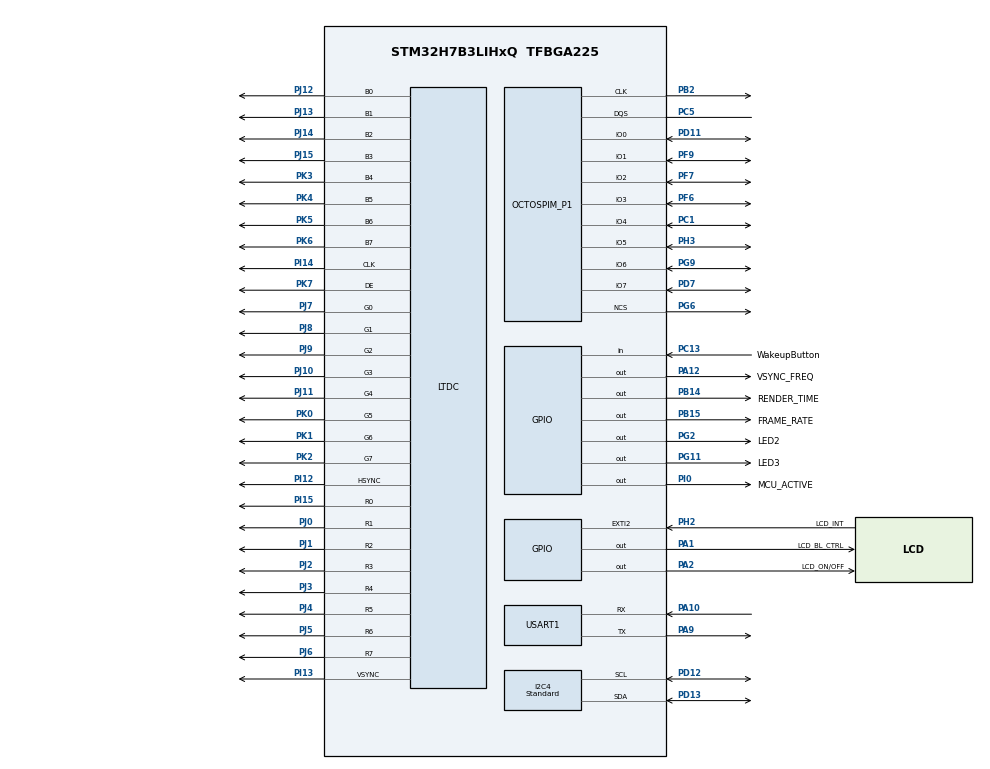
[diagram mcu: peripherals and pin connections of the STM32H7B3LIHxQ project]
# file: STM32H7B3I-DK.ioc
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CORTEX_M7.AccessPermission-Cortex_Memory_Protection_Unit_Region1_Settings=MPU_REGION_FULL_ACCESS
CORTEX_M7.AccessPermission-Cortex_Memory_Protection_Unit_Region2_Settings=MPU_REGION_FULL_ACCESS
CORTEX_M7.AccessPermission-Cortex_Memory_Protection_Unit_Region3_Settings=MPU_REGION_FULL_ACCESS
CORTEX_M7.BaseAddress-Cortex_Memory_Protection_Unit_Region0_Settings=0x90000000
CORTEX_M7.BaseAddress-Cortex_Memory_Protection_Unit_Region1_Settings=0x90000000
CORTEX_M7.BaseAddress-Cortex_Memory_Protection_Unit_Region2_Settings=0x24000000
CORTEX_M7.BaseAddress-Cortex_Memory_Protection_Unit_Region3_Settings=0x24000000
CORTEX_M7.CPU_DCache=Enabled
CORTEX_M7.CPU_ICache=Enabled
CORTEX_M7.DisableExec-Cortex_Memory_Protection_Unit_Region0_Settings=MPU_INSTRUCTION_ACCESS_DISABLE
CORTEX_M7.DisableExec-Cortex_Memory_Protection_Unit_Region1_Settings=MPU_INSTRUCTION_ACCESS_DISABLE
CORTEX_M7.DisableExec-Cortex_Memory_Protection_Unit_Region2_Settings=MPU_INSTRUCTION_ACCESS_DISABLE
CORTEX_M7.DisableExec-Cortex_Memory_Protection_Unit_Region3_Settings=MPU_INSTRUCTION_ACCESS_DISABLE
CORTEX_M7.Enable-Cortex_Memory_Protection_Unit_Region0_Settings=MPU_REGION_ENABLE
CORTEX_M7.Enable-Cortex_Memory_Protection_Unit_Region1_Settings=MPU_REGION_ENABLE
CORTEX_M7.Enable-Cortex_Memory_Protection_Unit_Region2_Settings=MPU_REGION_ENABLE
CORTEX_M7.Enable-Cortex_Memory_Protection_Unit_Region3_Settings=MPU_REGION_ENABLE
CORTEX_M7.IsBufferable-Cortex_Memory_Protection_Unit_Region3_Settings=MPU_ACCESS_BUFFERABLE
CORTEX_M7.IsCacheable-Cortex_Memory_Protection_Unit_Region1_Settings=MPU_ACCESS_CACHEABLE
CORTEX_M7.IsCacheable-Cortex_Memory_Protection_Unit_Region2_Settings=MPU_ACCESS_CACHEABLE
CORTEX_M7.IsCacheable-Cortex_Memory_Protection_Unit_Region3_Settings=MPU_ACCESS_CACHEABLE
CORTEX_M7.MPU_Control=MPU_PRIVILEGED_DEFAULT
CORTEX_M7.Size-Cortex_Memory_Protection_Unit_Region0_Settings=MPU_REGION_SIZE_256MB
CORTEX_M7.Size-Cortex_Memory_Protection_Unit_Region1_Settings=MPU_REGION_SIZE_64MB
CORTEX_M7.Size-Cortex_Memory_Protection_Unit_Region2_Settings=MPU_REGION_SIZE_1MB
CORTEX_M7.Size-Cortex_Memory_Protection_Unit_Region3_Settings=MPU_REGION_SIZE_256KB
DMA2D.ColorMode=DMA2D_OUTPUT_RGB565
FREERTOS.HEAP_NUMBER=4
FREERTOS.Tasks01=defaultTask,24,128,StartDefaultTask,Default,NULL,Dynamic,NULL,NULL;GUI_Task,24,4096,TouchGFX_Task,As external,NULL,Dynamic,NULL,NULL
FREERTOS.Timers01=testTimer,testTmrCallback,osTimerPeriodic,Default,NULL,Dynamic,NULL
FREERTOS.configTOTAL_HEAP_SIZE=32768
FREERTOS.configUSE_NEWLIB_REENTRANT=0
FREERTOS.copyHeapFile=1
I2C4.Analog_Filter=I2C_ANALOGFILTER_DISABLE
I2C4.I2C_Fall_Time=0
I2C4.I2C_Rise_Time=0
I2C4.I2C_Speed_Mode=I2C_Standard
I2C4.Speed=100
I2C4.Timing=0x30808BD0
LTDC.ActiveH=272
LTDC.ActiveW=480
LTDC.Alpha_L0=255
LTDC.BlendingFactor1_L0=LTDC_BLENDING_FACTOR1_CA
LTDC.BlendingFactor2_L0=LTDC_BLENDING_FACTOR2_CA
LTDC.Blue_L0=255
LTDC.HBP=2
LTDC.HFP=32
LTDC.HSync=41
LTDC.ImageHeight_L0=272
LTDC.ImageWidth_L0=480
LTDC.Layers=0
LTDC.PixelFormat_L0=LTDC_PIXEL_FORMAT_RGB888
LTDC.VSync=10
LTDC.WindowX1_L0=480
LTDC.WindowY1_L0=272
Mcu.Family=STM32H7
Mcu.Name=STM32H7B3LIHxQ
Mcu.Package=TFBGA225
NVIC.DMA2D_IRQn=true\:5\:0\:true\:false\:true\:false\:true\:true
NVIC.EXTI2_IRQn=true\:5\:0\:false\:false\:true\:true\:true\:true
NVIC.LTDC_IRQn=true\:5\:0\:false\:false\:true\:true\:true\:true
NVIC.OCTOSPI1_IRQn=true\:5\:0\:false\:false\:true\:true\:true\:true
NVIC.PriorityGroup=NVIC_PRIORITYGROUP_4
NVIC.TIM6_DAC_IRQn=true\:0\:0\:false\:false\:true\:false\:false\:true
NVIC.TimeBase=TIM6_DAC_IRQn
NVIC.TimeBaseIP=TIM6
OCTOSPI1.ChipSelectBoundary=0
OCTOSPI1.ChipSelectHighTime=2
OCTOSPI1.ClockPrescaler=3
OCTOSPI1.DeviceSize=26
OCTOSPI1.Refresh=0
PA1.GPIO_Label=LCD_BL_CTRL
PA1.GPIO_ModeDefaultOutputPP=GPIO_MODE_OUTPUT_PP
PA1.GPIO_PuPd=GPIO_NOPULL
PA1.GPIO_Speed=GPIO_SPEED_FREQ_LOW
PA1.PinState=GPIO_PIN_RESET
PA1.Signal=GPIO_Output
PA10.Mode=Asynchronous
PA10.Signal=USART1_RX
PA12.GPIO_Label=VSYNC_FREQ
PA12.Signal=GPIO_Output
PA2.GPIO_Label=LCD_ON/OFF
PA2.GPIO_ModeDefaultOutputPP=GPIO_MODE_OUTPUT_PP
PA2.GPIO_PuPd=GPIO_PULLUP
PA2.GPIO_Speed=GPIO_SPEED_FREQ_LOW
PA2.PinState=GPIO_PIN_RESET
PA2.Signal=GPIO_Output
PA9.Mode=Asynchronous
PA9.Signal=USART1_TX
PB14.GPIO_Label=RENDER_TIME
PB14.Signal=GPIO_Output
PB15.GPIO_Label=FRAME_RATE
PB15.Signal=GPIO_Output
PB2.Mode=O1_P1_CLK
PB2.Signal=OCTOSPIM_P1_CLK
PC1.Mode=OCTOSPI1_IOH_Port1H
PC1.Signal=OCTOSPIM_P1_IO4
PC13.GPIO_Label=WakeupButton
PC13.GPIO_PuPd=GPIO_PULLDOWN
PC13.Signal=GPIO_Input
PC5.Mode=OCTOSPI1_Port1_DQS
PC5.Signal=OCTOSPIM_P1_DQS
PD11.Mode=OCTOSPI1_IOL_Port1L
PD11.Signal=OCTOSPIM_P1_IO0
PD12.GPIO_Pu=GPIO_PULLUP
PD12.GPIO_Speed=GPIO_SPEED_FREQ_HIGH
PD12.Mode=I2C
PD12.Signal=I2C4_SCL
PD13.GPIO_Pu=GPIO_PULLUP
PD13.GPIO_Speed=GPIO_SPEED_FREQ_HIGH
PD13.Mode=I2C
PD13.Signal=I2C4_SDA
PD7.Mode=OCTOSPI1_IOH_Port1H
PD7.Signal=OCTOSPIM_P1_IO7
PF6.Mode=OCTOSPI1_IOL_Port1L
PF6.Signal=OCTOSPIM_P1_IO3
PF7.Mode=OCTOSPI1_IOL_Port1L
PF7.Signal=OCTOSPIM_P1_IO2
PF9.Mode=OCTOSPI1_IOL_Port1L
PF9.Signal=OCTOSPIM_P1_IO1
PG11.GPIO_Label=LED3
PG11.GPIO_PuPd=GPIO_PULLUP
PG11.Signal=GPIO_Output
PG2.GPIO_Label=LED2
PG2.GPIO_PuPd=GPIO_PULLUP
PG2.Signal=GPIO_Output
PG6.Mode=OCTOSPI1_Port1_NCS
PG6.Signal=OCTOSPIM_P1_NCS
PG9.Mode=OCTOSPI1_IOH_Port1H
PG9.Signal=OCTOSPIM_P1_IO6
PH0-OSC_IN.Mode=HSE-External-Oscillator
PH0-OSC_IN.Signal=RCC_OSC_IN
PH1-OSC_OUT.Mode=HSE-External-Oscillator
PH1-OSC_OUT.Signal=RCC_OSC_OUT
PH2.GPIO_Label=LCD_INT
PH2.GPIO_PuPd=GPIO_PULLUP
PH2.Signal=GPXTI2
PH3.Mode=OCTOSPI1_IOH_Port1H
PH3.Signal=OCTOSPIM_P1_IO5
PI0.GPIO_Label=MCU_ACTIVE
PI0.Signal=GPIO_Output
PI12.Mode=RGB888
PI12.Signal=LTDC_HSYNC
PI13.Mode=RGB888
PI13.Signal=LTDC_VSYNC
PI14.Mode=RGB888
PI14.Signal=LTDC_CLK
PI15.Mode=RGB888
PI15.Signal=LTDC_R0
PJ0.Mode=RGB888
PJ0.Signal=LTDC_R1
PJ1.Mode=RGB888
PJ1.Signal=LTDC_R2
PJ10.Mode=RGB888
PJ10.Signal=LTDC_G3
PJ11.Mode=RGB888
PJ11.Signal=LTDC_G4
PJ12.Mode=RGB888
PJ12.Signal=LTDC_B0
PJ13.Mode=RGB888
PJ13.Signal=LTDC_B1
PJ14.Mode=RGB888
PJ14.Signal=LTDC_B2
PJ15.Mode=RGB888
PJ15.Signal=LTDC_B3
PJ2.Mode=RGB888
PJ2.Signal=LTDC_R3
PJ3.Mode=RGB888
PJ3.Signal=LTDC_R4
PJ4.Mode=RGB888
PJ4.Signal=LTDC_R5
PJ5.Mode=RGB888
PJ5.Signal=LTDC_R6
PJ6.Mode=RGB888
PJ6.Signal=LTDC_R7
PJ7.Mode=RGB888
PJ7.Signal=LTDC_G0
PJ8.Mode=RGB888
PJ8.Signal=LTDC_G1
PJ9.Mode=RGB888
PJ9.Signal=LTDC_G2
PK0.Mode=RGB888
PK0.Signal=LTDC_G5
PK1.Mode=RGB888
PK1.Signal=LTDC_G6
PK2.Mode=RGB888
PK2.Signal=LTDC_G7
PK3.Mode=RGB888
PK3.Signal=LTDC_B4
PK4.Mode=RGB888
PK4.Signal=LTDC_B5
PK5.Mode=RGB888
PK5.Signal=LTDC_B6
PK6.Mode=RGB888
PK6.Signal=LTDC_B7
PK7.GPIO_PuPd=GPIO_NOPULL
PK7.Mode=RGB888
PK7.Signal=LTDC_DE
ProjectManager.HeapSize=0x1000
ProjectManager.StackSize=0x1000
ProjectManager.TargetToolchain=EWARM V8.32
RCC.ADCFreq_Value=133000000
RCC.APB1Freq_Value=140000000
RCC.APB2Freq_Value=140000000
RCC.APB3Freq_Value=140000000
RCC.APB4Freq_Value=140000000
RCC.CKPERSourceSelection=RCC_CLKPSOURCE_HSE
RCC.CortexFreq_Value=280000000
RCC.DIVM1=12
RCC.DIVM2=24
RCC.DIVM3=24
RCC.DIVN1=280
RCC.DIVN2=266
RCC.DIVN3=201
RCC.DIVR3=21
RCC.HCLKFreq_Value=140000000
RCC.HPRE=RCC_HCLK_DIV2
RCC.HSIDiv=RCC_PLLSAIDIVR_2
RCC.PLL2FRACN=0
RCC.PLL3FRACN=5462
RCC.PLLFRACN=0
RCC.PLLSourceVirtual=RCC_PLLSOURCE_HSE
RCC.PWR_Regulator_Voltage_Scale=PWR_REGULATOR_VOLTAGE_SCALE0
RCC.QSPICLockSelection=RCC_OSPICLKSOURCE_PLL2
RCC.SYSCLKFreq_VALUE=280000000
RCC.SYSCLKSource=RCC_SYSCLKSOURCE_PLLCLK
RCC.SupplySource=PWR_DIRECT_SMPS_SUPPLY
RCC.USBFreq_Value=280000000
STMicroelectronics.X-CUBE-TOUCHGFX.4.18.1.ApplicationCcGraphicsJjApplication=TouchGFXOoGenerator
STMicroelectronics.X-CUBE-TOUCHGFX.4.18.1.tgfx_buffering_strategy=Double
STMicroelectronics.X-CUBE-TOUCHGFX.4.18.1.tgfx_display_interface=disp_ltdc
STMicroelectronics.X-CUBE-TOUCHGFX.4.18.1.tgfx_hardware_accelerator=dma_2d
STMicroelectronics.X-CUBE-TOUCHGFX.4.18.1.tgfx_vsync=vsync_ltdc
USART1.VirtualMode-Asynchronous=VM_ASYNC
VP_CRC_VS_CRC.Mode=CRC_Activate
VP_DMA2D_VS_DMA2D.Mode=DMA2D_Activate
VP_FREERTOS_VS_CMSIS_V2.Mode=CMSIS_V2
VP_OCTOSPI1_VS_octo.Mode=octo_mode
VP_STMicroelectronics.X-CUBE-TOUCHGFX_VS_GraphicsJjApplication_4.18.1.Mode=GraphicsJjApplication
VP_SYS_VS_tim6.Mode=TIM6
board=custom

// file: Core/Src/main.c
/* USER CODE BEGIN Header */
/**
  ******************************************************************************
  * @file           : main.c
  * @brief          : Main program body
  ******************************************************************************
  * @attention
  *
  * <h2><center>&copy; Copyright (c) 2019 STMicroelectronics.
  * All rights reserved.</center></h2>
  *
  * This software component is licensed by ST under Ultimate Liberty license
  * SLA0044, the "License"; You may not use this file except in compliance with
  * the License. You may obtain a copy of the License at:
  *                             www.st.com/SLA0044
  *
  ******************************************************************************
  */
/* USER CODE END Header */
#include "main.h"
#include "cmsis_os.h"
#include "app_touchgfx.h"

/* USER CODE BEGIN Includes */
#include "stm32h7b3i_discovery_ospi.h"
#include "stm32h7b3i_discovery.h"
#include "User_Include.h"
/* USER CODE END Includes */

CRC_HandleTypeDef hcrc;

DMA2D_HandleTypeDef hdma2d;

I2C_HandleTypeDef hi2c4;

LTDC_HandleTypeDef hltdc;

OSPI_HandleTypeDef hospi1;

UART_HandleTypeDef huart1;

/* Definitions for defaultTask */
osThreadId_t defaultTaskHandle;
const osThreadAttr_t defaultTask_attributes = {
  .name = "defaultTask",
  .stack_size = 128 * 4,
  .priority = (osPriority_t) osPriorityNormal,
};
/* Definitions for GUI_Task */
osThreadId_t GUI_TaskHandle;
const osThreadAttr_t GUI_Task_attributes = {
  .name = "GUI_Task",
  .stack_size = 4096 * 4,
  .priority = (osPriority_t) osPriorityNormal,
};
/* Definitions for testTimer */
//osTimerId_t testTimerHandle;
//const osTimerAttr_t testTimer_attributes = {
//  .name = "testTimer"
//};
/* USER CODE BEGIN PV */
osThreadId_t buttonReadTaskHandle;
const osThreadAttr_t buttonReadTask_attributes = {
  .name = "buttonReadTask",
  .stack_size = 128 * 4,
  .priority = (osPriority_t) osPriorityNormal,
};
/* USER CODE END PV */

void SystemClock_Config(void);
static void MPU_Config(void);
static void MX_CRC_Init(void);
static void MX_GPIO_Init(void);
static void MX_DMA2D_Init(void);
static void MX_LTDC_Init(void);
static void MX_I2C4_Init(void);
static void MX_OCTOSPI1_Init(void);
static void MX_USART1_UART_Init(void);
void StartDefaultTask(void *argument);
extern void TouchGFX_Task(void *argument);
void testTmrCallback(void *argument);

int main(void)
{

  /* MPU Configuration--------------------------------------------------------*/
  MPU_Config();

  /* Enable I-Cache---------------------------------------------------------*/
  SCB_EnableICache();

  /* Enable D-Cache---------------------------------------------------------*/
  SCB_EnableDCache();

  /* MCU Configuration--------------------------------------------------------*/

  /* Reset of all peripherals, Initializes the Flash interface and the Systick. */
  HAL_Init();

  /* Configure the system clock */
  SystemClock_Config();

  /* Initialize all configured peripherals */
  MX_CRC_Init();
  MX_GPIO_Init();
  MX_DMA2D_Init();
  MX_LTDC_Init();
  MX_I2C4_Init();
  MX_OCTOSPI1_Init();
  MX_USART1_UART_Init();
  MX_TouchGFX_Init();

  /* Init scheduler */
  osKernelInitialize();

  /* Create the timer(s) */
  /* creation of testTimer */
//  testTimerHandle = osTimerNew(testTmrCallback, osTimerPeriodic, NULL, &testTimer_attributes);

  /* Create the thread(s) */
  /* creation of defaultTask */
  defaultTaskHandle = osThreadNew(StartDefaultTask, NULL, &defaultTask_attributes);

  /* creation of GUI_Task */
  GUI_TaskHandle = osThreadNew(TouchGFX_Task, NULL, &GUI_Task_attributes);

  /* USER CODE BEGIN RTOS_THREADS */
  /* add threads, ... */
  buttonReadTaskHandle = osThreadNew(ButtonReadTask, NULL, &buttonReadTask_attributes);
  /* USER CODE END RTOS_THREADS */

  /* Start scheduler */
  osKernelStart();

  /* We should never get here as control is now taken by the scheduler */
  /* Infinite loop */
  while (1)
  {

  }
}

void SystemClock_Config(void)
{
  RCC_OscInitTypeDef RCC_OscInitStruct = {0};
  RCC_ClkInitTypeDef RCC_ClkInitStruct = {0};

  /** Supply configuration update enable
  */
  HAL_PWREx_ConfigSupply(PWR_DIRECT_SMPS_SUPPLY);
  /** Configure the main internal regulator output voltage
  */
  __HAL_PWR_VOLTAGESCALING_CONFIG(PWR_REGULATOR_VOLTAGE_SCALE0);

  while(!__HAL_PWR_GET_FLAG(PWR_FLAG_VOSRDY)) {}
  /** Macro to configure the PLL clock source
  */
  __HAL_RCC_PLL_PLLSOURCE_CONFIG(RCC_PLLSOURCE_HSE);
  /** Initializes the RCC Oscillators according to the specified parameters
  * in the RCC_OscInitTypeDef structure.
  */
  RCC_OscInitStruct.OscillatorType = RCC_OSCILLATORTYPE_HSE;
  RCC_OscInitStruct.HSEState = RCC_HSE_ON;
  RCC_OscInitStruct.PLL.PLLState = RCC_PLL_ON;
  RCC_OscInitStruct.PLL.PLLSource = RCC_PLLSOURCE_HSE;
  RCC_OscInitStruct.PLL.PLLM = 12;
  RCC_OscInitStruct.PLL.PLLN = 280;
  RCC_OscInitStruct.PLL.PLLP = 2;
  RCC_OscInitStruct.PLL.PLLQ = 2;
  RCC_OscInitStruct.PLL.PLLR = 2;
  RCC_OscInitStruct.PLL.PLLRGE = RCC_PLL1VCIRANGE_1;
  RCC_OscInitStruct.PLL.PLLVCOSEL = RCC_PLL1VCOWIDE;
  RCC_OscInitStruct.PLL.PLLFRACN = 0;
  if (HAL_RCC_OscConfig(&RCC_OscInitStruct) != HAL_OK)
  {
    Error_Handler();
  }
  /** Initializes the CPU, AHB and APB buses clocks
  */
  RCC_ClkInitStruct.ClockType = RCC_CLOCKTYPE_HCLK|RCC_CLOCKTYPE_SYSCLK
                              |RCC_CLOCKTYPE_PCLK1|RCC_CLOCKTYPE_PCLK2
                              |RCC_CLOCKTYPE_D3PCLK1|RCC_CLOCKTYPE_D1PCLK1;
  RCC_ClkInitStruct.SYSCLKSource = RCC_SYSCLKSOURCE_PLLCLK;
  RCC_ClkInitStruct.SYSCLKDivider = RCC_SYSCLK_DIV1;
  RCC_ClkInitStruct.AHBCLKDivider = RCC_HCLK_DIV2;
  RCC_ClkInitStruct.APB3CLKDivider = RCC_APB3_DIV1;
  RCC_ClkInitStruct.APB1CLKDivider = RCC_APB1_DIV1;
  RCC_ClkInitStruct.APB2CLKDivider = RCC_APB2_DIV1;
  RCC_ClkInitStruct.APB4CLKDivider = RCC_APB4_DIV1;

  if (HAL_RCC_ClockConfig(&RCC_ClkInitStruct, FLASH_LATENCY_3) != HAL_OK)
  {
    Error_Handler();
  }
}

static void MX_CRC_Init(void)
{

  hcrc.Instance = CRC;
  hcrc.Init.DefaultPolynomialUse = DEFAULT_POLYNOMIAL_ENABLE;
  hcrc.Init.DefaultInitValueUse = DEFAULT_INIT_VALUE_ENABLE;
  hcrc.Init.InputDataInversionMode = CRC_INPUTDATA_INVERSION_NONE;
  hcrc.Init.OutputDataInversionMode = CRC_OUTPUTDATA_INVERSION_DISABLE;
  hcrc.InputDataFormat = CRC_INPUTDATA_FORMAT_BYTES;
  if (HAL_CRC_Init(&hcrc) != HAL_OK)
  {
    Error_Handler();
  }

}

static void MX_DMA2D_Init(void)
{

  hdma2d.Instance = DMA2D;
  hdma2d.Init.Mode = DMA2D_M2M;
  hdma2d.Init.ColorMode = DMA2D_OUTPUT_RGB565;
  hdma2d.Init.OutputOffset = 0;
  hdma2d.LayerCfg[1].InputOffset = 0;
  hdma2d.LayerCfg[1].InputColorMode = DMA2D_INPUT_RGB565;
  hdma2d.LayerCfg[1].AlphaMode = DMA2D_NO_MODIF_ALPHA;
  hdma2d.LayerCfg[1].InputAlpha = 0;
  hdma2d.LayerCfg[1].AlphaInverted = DMA2D_REGULAR_ALPHA;
  hdma2d.LayerCfg[1].RedBlueSwap = DMA2D_RB_REGULAR;
  hdma2d.LayerCfg[1].ChromaSubSampling = DMA2D_NO_CSS;
  if (HAL_DMA2D_Init(&hdma2d) != HAL_OK)
  {
    Error_Handler();
  }
  if (HAL_DMA2D_ConfigLayer(&hdma2d, 1) != HAL_OK)
  {
    Error_Handler();
  }

}

static void MX_I2C4_Init(void)
{

  hi2c4.Instance = I2C4;
  hi2c4.Init.Timing = 0x30808BD0;
  hi2c4.Init.OwnAddress1 = 0;
  hi2c4.Init.AddressingMode = I2C_ADDRESSINGMODE_7BIT;
  hi2c4.Init.DualAddressMode = I2C_DUALADDRESS_DISABLE;
  hi2c4.Init.OwnAddress2 = 0;
  hi2c4.Init.OwnAddress2Masks = I2C_OA2_NOMASK;
  hi2c4.Init.GeneralCallMode = I2C_GENERALCALL_DISABLE;
  hi2c4.Init.NoStretchMode = I2C_NOSTRETCH_DISABLE;
  if (HAL_I2C_Init(&hi2c4) != HAL_OK)
  {
    Error_Handler();
  }
  /** Configure Analogue filter
  */
  if (HAL_I2CEx_ConfigAnalogFilter(&hi2c4, I2C_ANALOGFILTER_DISABLE) != HAL_OK)
  {
    Error_Handler();
  }
  /** Configure Digital filter
  */
  if (HAL_I2CEx_ConfigDigitalFilter(&hi2c4, 0) != HAL_OK)
  {
    Error_Handler();
  }

}

static void MX_LTDC_Init(void)
{

  LTDC_LayerCfgTypeDef pLayerCfg = {0};

  hltdc.Instance = LTDC;
  hltdc.Init.HSPolarity = LTDC_HSPOLARITY_AL;
  hltdc.Init.VSPolarity = LTDC_VSPOLARITY_AL;
  hltdc.Init.DEPolarity = LTDC_DEPOLARITY_AL;
  hltdc.Init.PCPolarity = LTDC_PCPOLARITY_IPC;
  hltdc.Init.HorizontalSync = 40;
  hltdc.Init.VerticalSync = 9;
  hltdc.Init.AccumulatedHBP = 42;
  hltdc.Init.AccumulatedVBP = 11;
  hltdc.Init.AccumulatedActiveW = 522;
  hltdc.Init.AccumulatedActiveH = 283;
  hltdc.Init.TotalWidth = 554;
  hltdc.Init.TotalHeigh = 285;
  hltdc.Init.Backcolor.Blue = 0;
  hltdc.Init.Backcolor.Green = 0;
  hltdc.Init.Backcolor.Red = 0;
  if (HAL_LTDC_Init(&hltdc) != HAL_OK)
  {
    Error_Handler();
  }
  pLayerCfg.WindowX0 = 0;
  pLayerCfg.WindowX1 = 480;
  pLayerCfg.WindowY0 = 0;
  pLayerCfg.WindowY1 = 272;
  pLayerCfg.PixelFormat = LTDC_PIXEL_FORMAT_RGB888;
  pLayerCfg.Alpha = 255;
  pLayerCfg.Alpha0 = 0;
  pLayerCfg.BlendingFactor1 = LTDC_BLENDING_FACTOR1_CA;
  pLayerCfg.BlendingFactor2 = LTDC_BLENDING_FACTOR2_CA;
  pLayerCfg.FBStartAdress = 0;
  pLayerCfg.ImageWidth = 480;
  pLayerCfg.ImageHeight = 272;
  pLayerCfg.Backcolor.Blue = 255;
  pLayerCfg.Backcolor.Green = 0;
  pLayerCfg.Backcolor.Red = 0;
  if (HAL_LTDC_ConfigLayer(&hltdc, &pLayerCfg, 0) != HAL_OK)
  {
    Error_Handler();
  }

}

static void MX_OCTOSPI1_Init(void)
{

  OSPIM_CfgTypeDef sOspiManagerCfg = {0};

  /* OCTOSPI1 parameter configuration*/
  hospi1.Instance = OCTOSPI1;
  hospi1.Init.FifoThreshold = 1;
  hospi1.Init.DualQuad = HAL_OSPI_DUALQUAD_DISABLE;
  hospi1.Init.MemoryType = HAL_OSPI_MEMTYPE_MICRON;
  hospi1.Init.DeviceSize = 26;
  hospi1.Init.ChipSelectHighTime = 2;
  hospi1.Init.FreeRunningClock = HAL_OSPI_FREERUNCLK_DISABLE;
  hospi1.Init.ClockMode = HAL_OSPI_CLOCK_MODE_0;
  hospi1.Init.WrapSize = HAL_OSPI_WRAP_NOT_SUPPORTED;
  hospi1.Init.ClockPrescaler = 3;
  hospi1.Init.SampleShifting = HAL_OSPI_SAMPLE_SHIFTING_NONE;
  hospi1.Init.DelayHoldQuarterCycle = HAL_OSPI_DHQC_DISABLE;
  hospi1.Init.ChipSelectBoundary = 0;
  hospi1.Init.ClkChipSelectHighTime = 0;
  hospi1.Init.DelayBlockBypass = HAL_OSPI_DELAY_BLOCK_BYPASSED;
  hospi1.Init.MaxTran = 0;
  hospi1.Init.Refresh = 0;
  if (HAL_OSPI_Init(&hospi1) != HAL_OK)
  {
    Error_Handler();
  }
  sOspiManagerCfg.ClkPort = 1;
  sOspiManagerCfg.DQSPort = 1;
  sOspiManagerCfg.NCSPort = 1;
  sOspiManagerCfg.IOLowPort = HAL_OSPIM_IOPORT_1_LOW;
  sOspiManagerCfg.IOHighPort = HAL_OSPIM_IOPORT_1_HIGH;
  if (HAL_OSPIM_Config(&hospi1, &sOspiManagerCfg, HAL_OSPI_TIMEOUT_DEFAULT_VALUE) != HAL_OK)
  {
    Error_Handler();
  }
  /* USER CODE BEGIN OCTOSPI1_Init 2 */
  BSP_OSPI_NOR_Init_t Flash;
  Flash.InterfaceMode = BSP_OSPI_NOR_OPI_MODE;
  Flash.TransferRate  = BSP_OSPI_NOR_DTR_TRANSFER;
  BSP_OSPI_NOR_DeInit(0);
  int32_t RetVal = BSP_OSPI_NOR_Init(0, &Flash);
  if(RetVal != BSP_ERROR_NONE)
  {
    Error_Handler();
  }
  RetVal = BSP_OSPI_NOR_EnableMemoryMappedMode(0);
  if(RetVal != BSP_ERROR_NONE)
  {
    Error_Handler();
  }
  /* USER CODE END OCTOSPI1_Init 2 */

}

static void MX_USART1_UART_Init(void)
{

  huart1.Instance = USART1;
  huart1.Init.BaudRate = 115200;
  huart1.Init.WordLength = UART_WORDLENGTH_8B;
  huart1.Init.StopBits = UART_STOPBITS_1;
  huart1.Init.Parity = UART_PARITY_NONE;
  huart1.Init.Mode = UART_MODE_TX_RX;
  huart1.Init.HwFlowCtl = UART_HWCONTROL_NONE;
  huart1.Init.OverSampling = UART_OVERSAMPLING_16;
  huart1.Init.OneBitSampling = UART_ONE_BIT_SAMPLE_DISABLE;
  huart1.Init.ClockPrescaler = UART_PRESCALER_DIV1;
  huart1.AdvancedInit.AdvFeatureInit = UART_ADVFEATURE_NO_INIT;
  if (HAL_UART_Init(&huart1) != HAL_OK)
  {
    Error_Handler();
  }
  if (HAL_UARTEx_SetTxFifoThreshold(&huart1, UART_TXFIFO_THRESHOLD_1_8) != HAL_OK)
  {
    Error_Handler();
  }
  if (HAL_UARTEx_SetRxFifoThreshold(&huart1, UART_RXFIFO_THRESHOLD_1_8) != HAL_OK)
  {
    Error_Handler();
  }
  if (HAL_UARTEx_DisableFifoMode(&huart1) != HAL_OK)
  {
    Error_Handler();
  }

}

static void MX_GPIO_Init(void)
{
  GPIO_InitTypeDef GPIO_InitStruct = {0};

  /* GPIO Ports Clock Enable */
  __HAL_RCC_GPIOK_CLK_ENABLE();
  __HAL_RCC_GPIOG_CLK_ENABLE();
  __HAL_RCC_GPIOD_CLK_ENABLE();
  __HAL_RCC_GPIOJ_CLK_ENABLE();
  __HAL_RCC_GPIOI_CLK_ENABLE();
  __HAL_RCC_GPIOA_CLK_ENABLE();
  __HAL_RCC_GPIOC_CLK_ENABLE();
  __HAL_RCC_GPIOF_CLK_ENABLE();
  __HAL_RCC_GPIOH_CLK_ENABLE();
  __HAL_RCC_GPIOB_CLK_ENABLE();

  /*Configure GPIO pin Output Level */
  HAL_GPIO_WritePin(GPIOG, LED3_Pin|LED2_Pin, GPIO_PIN_RESET);

  /*Configure GPIO pin Output Level */
  HAL_GPIO_WritePin(MCU_ACTIVE_GPIO_Port, MCU_ACTIVE_Pin, GPIO_PIN_RESET);

  /*Configure GPIO pin Output Level */
  HAL_GPIO_WritePin(GPIOA, VSYNC_FREQ_Pin|LCD_BL_CTRL_Pin|LCD_ON_OFF_Pin, GPIO_PIN_RESET);

  /*Configure GPIO pin Output Level */
  HAL_GPIO_WritePin(GPIOB, RENDER_TIME_Pin|FRAME_RATE_Pin, GPIO_PIN_RESET);

  /*Configure GPIO pins : LED3_Pin LED2_Pin */
  GPIO_InitStruct.Pin = LED3_Pin|LED2_Pin;
  GPIO_InitStruct.Mode = GPIO_MODE_OUTPUT_PP;
  GPIO_InitStruct.Pull = GPIO_PULLUP;
  GPIO_InitStruct.Speed = GPIO_SPEED_FREQ_LOW;
  HAL_GPIO_Init(GPIOG, &GPIO_InitStruct);

  /*Configure GPIO pin : MCU_ACTIVE_Pin */
  GPIO_InitStruct.Pin = MCU_ACTIVE_Pin;
  GPIO_InitStruct.Mode = GPIO_MODE_OUTPUT_PP;
  GPIO_InitStruct.Pull = GPIO_NOPULL;
  GPIO_InitStruct.Speed = GPIO_SPEED_FREQ_LOW;
  HAL_GPIO_Init(MCU_ACTIVE_GPIO_Port, &GPIO_InitStruct);

  /*Configure GPIO pins : VSYNC_FREQ_Pin LCD_BL_CTRL_Pin */
  GPIO_InitStruct.Pin = VSYNC_FREQ_Pin|LCD_BL_CTRL_Pin;
  GPIO_InitStruct.Mode = GPIO_MODE_OUTPUT_PP;
  GPIO_InitStruct.Pull = GPIO_NOPULL;
  GPIO_InitStruct.Speed = GPIO_SPEED_FREQ_LOW;
  HAL_GPIO_Init(GPIOA, &GPIO_InitStruct);

  /*Configure GPIO pin : WakeupButton_Pin */
  GPIO_InitStruct.Pin = WakeupButton_Pin;
  GPIO_InitStruct.Mode = GPIO_MODE_INPUT;
  GPIO_InitStruct.Pull = GPIO_PULLDOWN;
  HAL_GPIO_Init(WakeupButton_GPIO_Port, &GPIO_InitStruct);

  /*Configure GPIO pin : LCD_INT_Pin */
  GPIO_InitStruct.Pin = LCD_INT_Pin;
  GPIO_InitStruct.Mode = GPIO_MODE_IT_RISING;
  GPIO_InitStruct.Pull = GPIO_PULLUP;
  HAL_GPIO_Init(LCD_INT_GPIO_Port, &GPIO_InitStruct);

  /*Configure GPIO pins : RENDER_TIME_Pin FRAME_RATE_Pin */
  GPIO_InitStruct.Pin = RENDER_TIME_Pin|FRAME_RATE_Pin;
  GPIO_InitStruct.Mode = GPIO_MODE_OUTPUT_PP;
  GPIO_InitStruct.Pull = GPIO_NOPULL;
  GPIO_InitStruct.Speed = GPIO_SPEED_FREQ_LOW;
  HAL_GPIO_Init(GPIOB, &GPIO_InitStruct);

  /*Configure GPIO pin : LCD_ON_OFF_Pin */
  GPIO_InitStruct.Pin = LCD_ON_OFF_Pin;
  GPIO_InitStruct.Mode = GPIO_MODE_OUTPUT_PP;
  GPIO_InitStruct.Pull = GPIO_PULLUP;
  GPIO_InitStruct.Speed = GPIO_SPEED_FREQ_LOW;
  HAL_GPIO_Init(LCD_ON_OFF_GPIO_Port, &GPIO_InitStruct);

  /* EXTI interrupt init*/
  HAL_NVIC_SetPriority(EXTI2_IRQn, 5, 0);
  HAL_NVIC_EnableIRQ(EXTI2_IRQn);

}

void StartDefaultTask(void *argument)
{
  /* USER CODE BEGIN 5 */
    startTimer(testTmrCallback, osTimerPeriodic, NULL, 1000);
    startTimer(TimerHandleTest, osTimerPeriodic, 10, 1000);

  /* Infinite loop */
  for(;;)
  {
    osDelay(100);
  }
  /* USER CODE END 5 */
}

/* testTmrCallback function */
void testTmrCallback(void *argument)
{
  /* USER CODE BEGIN testTmrCallback */
    HAL_GPIO_TogglePin(GPIOG, GPIO_PIN_2);
    HAL_GPIO_TogglePin(GPIOG, GPIO_PIN_11);
  /* USER CODE END testTmrCallback */
}

/* MPU Configuration */

void MPU_Config(void)
{
  MPU_Region_InitTypeDef MPU_InitStruct = {0};

  /* Disables the MPU */
  HAL_MPU_Disable();
  /** Initializes and configures the Region and the memory to be protected
  */
  MPU_InitStruct.Enable = MPU_REGION_ENABLE;
  MPU_InitStruct.Number = MPU_REGION_NUMBER0;
  MPU_InitStruct.BaseAddress = 0x90000000;
  MPU_InitStruct.Size = MPU_REGION_SIZE_256MB;
  MPU_InitStruct.SubRegionDisable = 0x0;
  MPU_InitStruct.TypeExtField = MPU_TEX_LEVEL0;
  MPU_InitStruct.AccessPermission = MPU_REGION_NO_ACCESS;
  MPU_InitStruct.DisableExec = MPU_INSTRUCTION_ACCESS_DISABLE;
  MPU_InitStruct.IsShareable = MPU_ACCESS_NOT_SHAREABLE;
  MPU_InitStruct.IsCacheable = MPU_ACCESS_NOT_CACHEABLE;
  MPU_InitStruct.IsBufferable = MPU_ACCESS_NOT_BUFFERABLE;

  HAL_MPU_ConfigRegion(&MPU_InitStruct);
  /** Initializes and configures the Region and the memory to be protected
  */
  MPU_InitStruct.Number = MPU_REGION_NUMBER1;
  MPU_InitStruct.Size = MPU_REGION_SIZE_64MB;
  MPU_InitStruct.AccessPermission = MPU_REGION_FULL_ACCESS;
  MPU_InitStruct.IsCacheable = MPU_ACCESS_CACHEABLE;

  HAL_MPU_ConfigRegion(&MPU_InitStruct);
  /** Initializes and configures the Region and the memory to be protected
  */
  MPU_InitStruct.Number = MPU_REGION_NUMBER2;
  MPU_InitStruct.BaseAddress = 0x24000000;
  MPU_InitStruct.Size = MPU_REGION_SIZE_1MB;

  HAL_MPU_ConfigRegion(&MPU_InitStruct);
  /** Initializes and configures the Region and the memory to be protected
  */
  MPU_InitStruct.Number = MPU_REGION_NUMBER3;
  MPU_InitStruct.Size = MPU_REGION_SIZE_256KB;
  MPU_InitStruct.IsBufferable = MPU_ACCESS_BUFFERABLE;

  HAL_MPU_ConfigRegion(&MPU_InitStruct);
  /* Enables the MPU */
  HAL_MPU_Enable(MPU_PRIVILEGED_DEFAULT);

}

void HAL_TIM_PeriodElapsedCallback(TIM_HandleTypeDef *htim)
{
  if (htim->Instance == TIM6) {
    HAL_IncTick();
  }
}

void Error_Handler(void)
{
}
